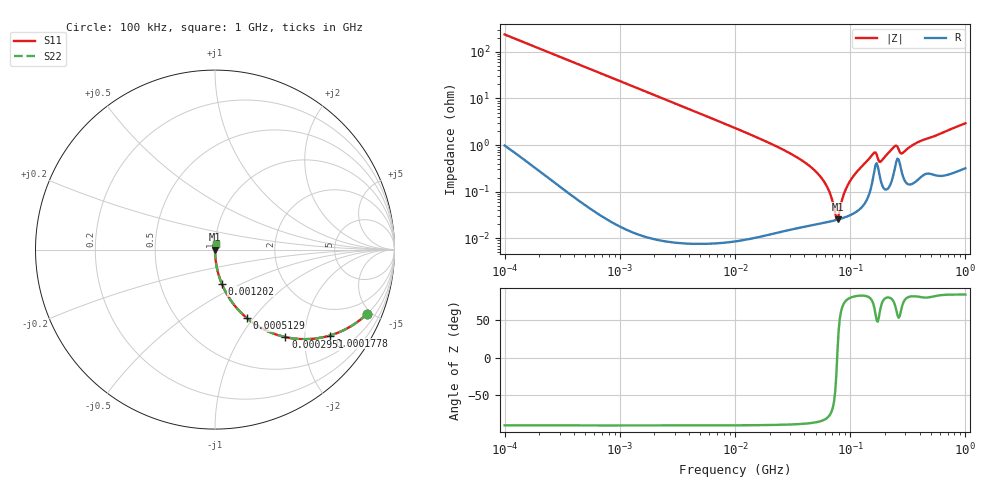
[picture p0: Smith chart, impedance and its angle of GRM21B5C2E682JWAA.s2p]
!Murata Part Number: GRM21B5C2E682JWAA
!These Parameters are Measured in Series Mode Connection
!Data Generated on Mar 30, 2021
!  o--ll--o
!Port1  Port2
!  o------o
!Operation Temp=25[degC], DC Bias Voltage=0[V]
!Freq. Start=100[kHz] Stop=1000[MHz] 401[Steps]
# Hz S RI R 50
!Freq.(Hz) S11(Real) S11(Imag) S21(Real) S21(Imag) S12(Real) S12(Imag) S22(Real) S22(Imag)
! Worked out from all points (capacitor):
!   401 points, 100 kHz to 1 GHz, reference 50 ohm
!   read as one part in series: C = 6.73 nF near 104.7 kHz
!   lowest |Z| = 25.5 mohm at 77.62 MHz (marker M1)
!   series resonance near 77.08 MHz, so ESL is about 630 pH
!   S11 on the Smith chart (normalised r, x): 100 kHz: 1.02, -4.73; 177.8 kHz: 1.01, -2.66; 295.1 kHz: 1.00, -1.60; 512.9 kHz: 1.00, -0.92; 1.202 MHz: 1.00, -0.39; 1 GHz: 1.01, +0.06
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100000  0.8473 -0.3577  0.1527 0.3577  0.1527 0.3577  0.8473 -0.3577
177828  0.6389 -0.479  0.3611 0.479  0.3611 0.479  0.6389 -0.479
295121  0.3918 -0.4873  0.6082 0.4873  0.6082 0.4873  0.3918 -0.4873
467735  0.2043 -0.4026  0.7957 0.4026  0.7957 0.4026  0.2043 -0.4026
512861  0.176 -0.3803  0.824 0.3803  0.824 0.3803  0.176 -0.3803
1202264  0.0375 -0.1895  0.9625 0.1895  0.9625 0.1895  0.0375 -0.1895
2187762  0.0117 -0.1069  0.9883 0.1069  0.9883 0.1069  0.0117 -0.1069
1e7  0.000626 -0.0232  0.9994 0.0232  0.9994 0.0232  0.000626 -0.0232
2.754229e7  0.000201 -0.00747  0.9998 0.00747  0.9998 0.00747  0.000201 -0.00747
4.677351e7  0.000201 -0.00319  0.9998 0.00319  0.9998 0.00319  0.000201 -0.00319
6.16595e7  0.000221 -0.00139  0.9998 0.00139  0.9998 0.00139  0.000221 -0.00139
7.413102e7  0.000244 -0.000242  0.9998 0.000242  0.9998 0.000242  0.000244 -0.000242
7.762471e7  0.000251 4.43e-05  0.9997 -4.43e-05  0.9997 -4.43e-05  0.000251 4.43e-05
9.120108e7  0.000287 0.00107  0.9997 -0.00107  0.9997 -0.00107  0.000287 0.00107
1.122018e8  0.000372 0.0025  0.9996 -0.0025  0.9996 -0.0025  0.000372 0.0025
1.584893e8  0.00209 0.00621  0.9979 -0.00621  0.9979 -0.00621  0.00209 0.00621
1.862087e8  0.00158 0.00425  0.9984 -0.00425  0.9984 -0.00425  0.00158 0.00425
2.187762e8  0.00134 0.00703  0.9987 -0.00703  0.9987 -0.00703  0.00134 0.00703
2.454709e8  0.00347 0.0089  0.9965 -0.0089  0.9965 -0.0089  0.00347 0.0089
2.884032e8  0.0021 0.00657  0.9979 -0.00657  0.9979 -0.00657  0.0021 0.00657
3.981072e8  0.00205 0.0117  0.9979 -0.0117  0.9979 -0.0117  0.00205 0.0117
1e9  0.00401 0.029  0.996 -0.029  0.996 -0.029  0.00401 0.029
